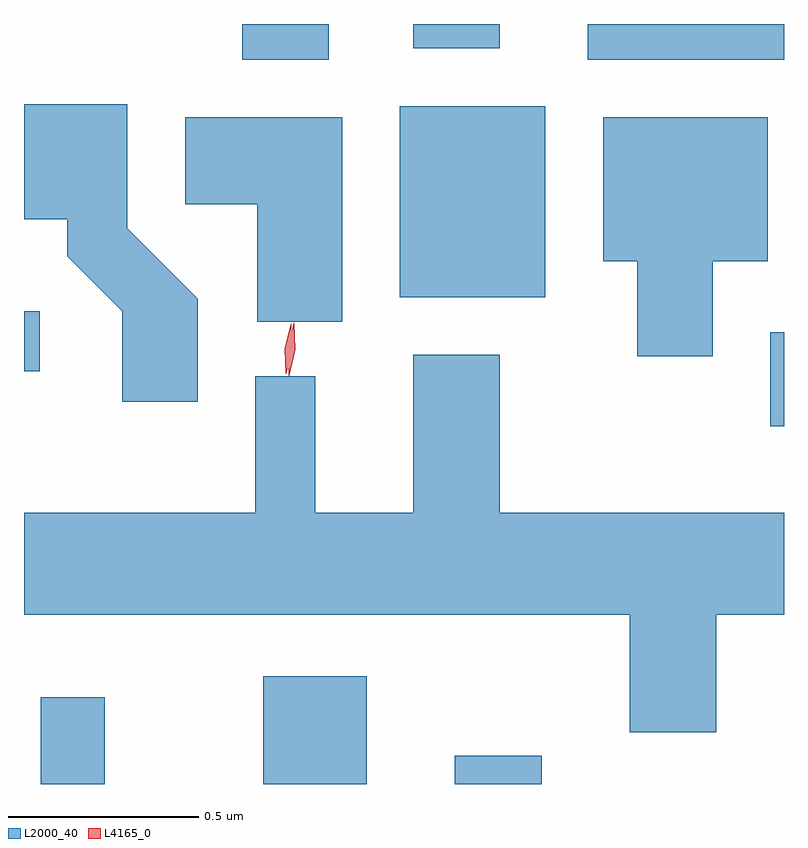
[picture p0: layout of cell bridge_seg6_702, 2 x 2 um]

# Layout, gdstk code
import gdstk
lib = gdstk.Library(unit=1e-6, precision=1e-09)
def R(c, l, rs):  # rectangles x0, y0, x1, y1
    for r in rs: c.add(gdstk.rectangle(r[:2], r[2:], *l))
def P(c, l, *ps):  # polygons
    for p in ps: c.add(gdstk.Polygon(p, *l))
L2000_40 = (2000, 40)
L4165_0 = (4165, 0)

bridge_seg6_702 = lib.new_cell('bridge_seg6_702')
R(bridge_seg6_702, L2000_40, [(212.491,1636.17,212.659,1636.398), (213.076,1636.17,213.349,1636.454), (213.581,1636.17,213.809,1636.244), (214.411,1637.111,214.447,1637.359), (212.447,1637.256,212.488,1637.414), (213.436,1637.451,213.819,1637.954), (213.021,1638.076,213.249,1638.17), (213.931,1638.076,214.447,1638.17), (213.471,1638.106,213.699,1638.17)])
P(bridge_seg6_702, L2000_40, [(212.904,1637.447),(212.719,1637.632),(212.719,1637.959),(212.447,1637.959),(212.447,1637.656),(212.561,1637.656),(212.561,1637.559),(212.706,1637.414),(212.706,1637.176),(212.904,1637.176)],
  [(214.259,1637.546),(214.404,1637.546),(214.404,1637.924),(213.971,1637.924),(213.971,1637.546),(214.061,1637.546),(214.061,1637.296),(214.259,1637.296)],
  [(213.284,1637.924),(212.871,1637.924),(212.871,1637.696),(213.061,1637.696),(213.061,1637.386),(213.284,1637.386)],
  [(214.269,1636.616),(214.447,1636.616),(214.447,1636.884),(213.699,1636.884),(213.699,1637.299),(213.471,1637.299),(213.471,1636.884),(213.214,1636.884),(213.214,1637.243),(213.056,1637.243),(213.056,1636.884),(212.447,1636.884),(212.447,1636.616),(214.041,1636.616),(214.041,1636.306),(214.269,1636.306)])
P(bridge_seg6_702, L4165_0, [(213.144,1637.245),(213.144,1637.245),(213.141,1637.315),(213.157,1637.382),(213.158,1637.383),(213.158,1637.382),(213.161,1637.313),(213.145,1637.245)],
  [(213.136,1637.249),(213.133,1637.316),(213.149,1637.38),(213.15,1637.381),(213.15,1637.38),(213.153,1637.314),(213.137,1637.249),(213.137,1637.249)])

lib.write_gds('bridge_seg6_702.gds')
